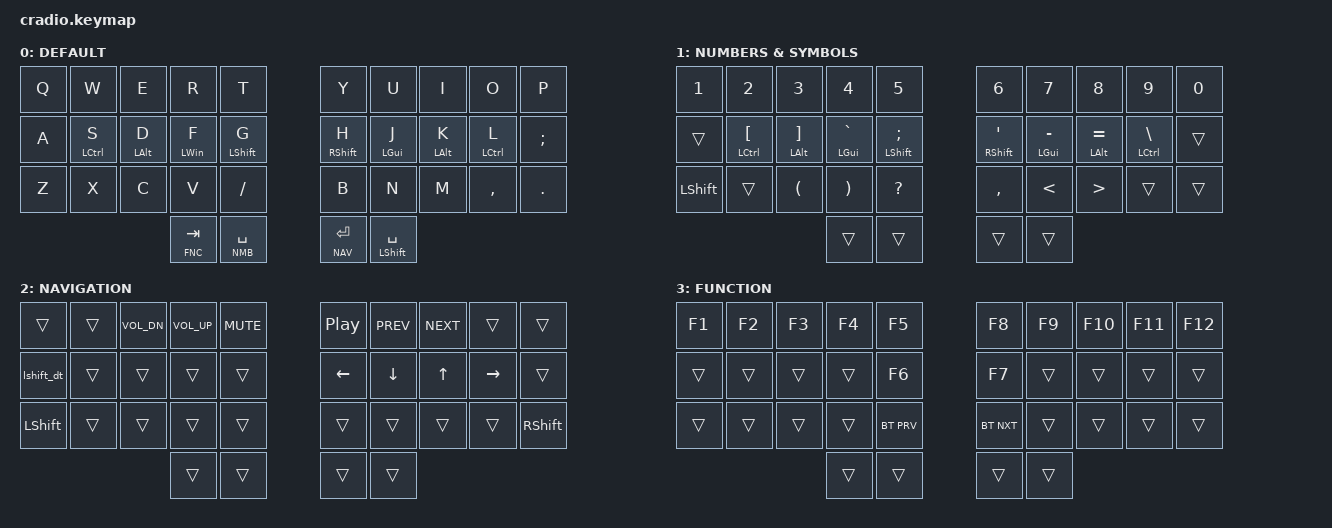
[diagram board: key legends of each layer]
// Copyright (c) 2022 The ZMK Contributors
// SPDX-License-Identifier: MIT

#define ZMK_POINTING_DEFAULT_MOVE_VAL 2500  // 600
#define ZMK_POINTING_DEFAULT_SCRL_VAL 20    // 10

#include <behaviors.dtsi>
#include "behaviors/character_map.dtsi"
// #include "behaviors/send_string.dtsi"
#include "behaviors/report.dtsi"
#include <dt-bindings/zmk/bt.h>
#include <dt-bindings/zmk/keys.h>
#include <dt-bindings/zmk/outputs.h>
#include <dt-bindings/zmk/pointing.h>

#define BAS 0
#define NMB 1
#define NAV 2
#define FNC 3


// https://zmk.dev/docs/development/hardware-integration/soft-off-setup?advanced-methods=wakeup&kscan-type=dkscan
/ {

    macros {
        lshift_dt: lshift_dt {
            compatible = "zmk,behavior-macro";
            #binding-cells = <0>;
            bindings = <&macro_tap_time 150>,
                       <&macro_tap &kp LSHFT &kp LSHFT>;
        };
    };

    combos {
        compatible = "zmk,combos";

        combo_esc {
            timeout-ms = <50>;
            key-positions = <0 1>;
            layers = <BAS NMB NAV FNC>;
            bindings = <&kp ESC>;
        };

        combo_bspace {
            timeout-ms = <150>;
            key-positions = <9 8>;
            layers = <BAS NMB NAV FNC>;
            bindings = <&kp BACKSPACE>;
        };

        sunlock {
            bindings = <&studio_unlock>;
            key-positions = <10 19>;
            layers = <FNC>;
        };

        bt_clr {
            bindings = <&bt BT_CLR>;
            key-positions = <20 21 28 29>;
            layers = <FNC>;
        };
    };

    keys {
        compatible = "gpio-keys";
        soft_off_gpio_key: soft_off_gpio_key {
            gpios = <&gpio1 6 (GPIO_ACTIVE_LOW | GPIO_PULL_UP)>;
        };
    };
    wakeup_scan: wakeup_scan {
        compatible = "zmk,kscan-gpio-direct";
        input-keys = <&soft_off_gpio_key>;
        wakeup-source;
    };
    side_band_behavior_triggers: side_band_behavior_triggers {
        compatible = "zmk,kscan-sideband-behaviors";
        kscan = <&wakeup_scan>;
        auto-enable;
        wakeup-source;
    };
    soft_off_wakers {
        compatible = "zmk,soft-off-wakeup-sources";
        wakeup-sources = <&wakeup_scan>;
    };
};

/ {
    vbatt: vbatt {
        compatible = "zmk,battery-nrf-vddh";
    };
    chosen {
        zmk,charmap = &charmap_us;
        zmk,battery = &vbatt;
    };
    behaviors {
        ht: hold_tap {
            display-name = "hold_tap";
            compatible = "zmk,behavior-hold-tap";
            #binding-cells = <2>;
            flavor = "balanced";
            tapping-term-ms = <200>;
            quick-tap-ms = <150>;
            bindings = <&kp>, <&kp>;
        };
        mmv {
            acceleration-exponent = <1>;      // 1
            time-to-max-speed-ms = <300>;    // 40
            delay-ms = <0>;                   // 0
        };
        msc {
            acceleration-exponent = <0>;      // 0
            time-to-max-speed-ms = <40>;      // 500
            delay-ms = <0>;                   // 10
        };
    };

    keymap {
        compatible = "zmk,keymap";

        default_layer {
            display-name = "DEFAULT";
            bindings = <
            &kp Q        &kp W       &kp E       &kp R             &kp T             &kp Y        &kp U       &kp I        &kp O      &kp P
            &kp A  &ht LCTRL S  &ht LALT D  &ht LWIN F       &ht LSHFT G       &ht RSHFT H   &ht LGUI J  &ht LALT K  &ht LCTRL L      &kp SEMICOLON
            &kp Z        &kp X       &kp C       &kp V          &kp FSLH             &kp B        &kp N       &kp M       &kp COMMA   &kp PERIOD
                                             &lt FNC TAB       &lt NMB SPACE       &lt NAV ENTER  &ht LSHFT SPACE
            >;
        };

        num_layer {
            display-name = "NUMBERS & SYMBOLS";
            bindings = <
        &kp N1                   &kp N2            &kp NUMBER_3           &kp NUMBER_4         &kp NUMBER_5            &kp NUMBER_6      &kp NUMBER_7      &kp NUMBER_8         &kp NUMBER_9  &kp NUMBER_0
       &trans         &ht LCTRL LEFT_BRACKET  &ht LALT RIGHT_BRACKET         &ht LGUI GRAVE  &ht LSHFT SEMICOLON    &ht RSHFT APOSTROPHE    &ht LGUI MINUS    &ht LALT EQUAL  &ht LCTRL BACKSLASH        &trans
    &kp LSHFT                         &trans    &kp LEFT_PARENTHESIS  &kp RIGHT_PARENTHESIS         &kp QUESTION               &kp COMMA     &kp LESS_THAN  &kp GREATER_THAN               &trans        &trans
                                                                      &trans                 &trans                      &trans                &trans
            >;
        };

        right_layer {
            display-name = "NAVIGATION";
            bindings = <
    &trans  &trans  &kp C_VOL_DN  &kp C_VOL_UP  &kp C_MUTE  &kp C_PP  &kp C_PREV  &kp C_NEXT     &trans      &trans
&lshift_dt  &trans        &trans        &trans      &trans  &kp LEFT    &kp DOWN      &kp UP  &kp RIGHT      &trans
 &kp LSHFT  &trans        &trans        &trans      &trans    &trans      &trans      &trans     &trans  &kp RSHIFT
                                        &trans      &trans    &trans      &trans
            >;
        };

        fn_layer {
            display-name = "FUNCTION";
            bindings = <
 &kp F1  &kp F2  &kp F3  &kp F4      &kp F5      &kp F8  &kp F9  &kp F10  &kp F11  &kp F12
 &trans  &trans  &trans  &trans      &kp F6      &kp F7  &trans   &trans   &trans   &trans
 &trans  &trans  &trans  &trans  &bt BT_PRV  &bt BT_NXT  &trans   &trans   &trans   &trans
                         &trans      &trans      &trans  &trans
            >;
        };
    };
};
